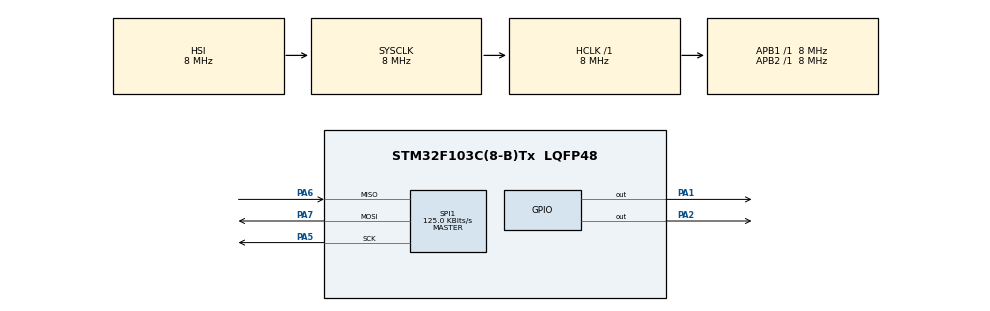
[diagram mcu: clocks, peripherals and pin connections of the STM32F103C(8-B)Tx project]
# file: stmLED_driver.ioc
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Mcu.Family=STM32F1
Mcu.Name=STM32F103C(8-B)Tx
Mcu.Package=LQFP48
NVIC.PriorityGroup=NVIC_PRIORITYGROUP_4
NVIC.SPI1_IRQn=true\:0\:0\:false\:false\:true\:true\:true
PA1.GPIO_PuPd=GPIO_PULLUP
PA1.PinState=GPIO_PIN_SET
PA1.Signal=GPIO_Output
PA13.Mode=Serial_Wire
PA13.Signal=SYS_JTMS-SWDIO
PA14.Mode=Serial_Wire
PA14.Signal=SYS_JTCK-SWCLK
PA2.GPIO_PuPd=GPIO_PULLUP
PA2.PinState=GPIO_PIN_SET
PA2.Signal=GPIO_Output
PA5.Mode=Full_Duplex_Master
PA5.Signal=SPI1_SCK
PA6.Mode=Full_Duplex_Master
PA6.Signal=SPI1_MISO
PA7.Mode=Full_Duplex_Master
PA7.Signal=SPI1_MOSI
PC14-OSC32_IN.Mode=LSE-External-Oscillator
PC14-OSC32_IN.Signal=RCC_OSC32_IN
PC15-OSC32_OUT.Mode=LSE-External-Oscillator
PC15-OSC32_OUT.Signal=RCC_OSC32_OUT
PD0-OSC_IN.Mode=HSE-External-Oscillator
PD0-OSC_IN.Signal=RCC_OSC_IN
PD1-OSC_OUT.Mode=HSE-External-Oscillator
PD1-OSC_OUT.Signal=RCC_OSC_OUT
ProjectManager.HeapSize=0x200
ProjectManager.StackSize=0x400
ProjectManager.TargetToolchain=MDK-ARM V5.27
RCC.AHBFreq_Value=8000000
RCC.APB1Freq_Value=8000000
RCC.APB1TimFreq_Value=8000000
RCC.APB2Freq_Value=8000000
RCC.APB2TimFreq_Value=8000000
RCC.HCLKFreq_Value=8000000
RCC.SYSCLKFreq_VALUE=8000000
RCC.USBFreq_Value=8000000
SPI1.BaudRatePrescaler=SPI_BAUDRATEPRESCALER_64
SPI1.CLKPhase=SPI_PHASE_2EDGE
SPI1.CLKPolarity=SPI_POLARITY_LOW
SPI1.CalculateBaudRate=125.0 KBits/s
SPI1.Direction=SPI_DIRECTION_2LINES
SPI1.Mode=SPI_MODE_MASTER
SPI1.VirtualType=VM_MASTER
board=custom

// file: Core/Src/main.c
/* USER CODE BEGIN Header */
/**
  ******************************************************************************
  * @file           : main.c
  * @brief          : Main program body
  ******************************************************************************
  * @attention
  *
  * <h2><center>&copy; Copyright (c) 2021 STMicroelectronics.
  * All rights reserved.</center></h2>
  *
  * This software component is licensed by ST under BSD 3-Clause license,
  * the "License"; You may not use this file except in compliance with the
  * License. You may obtain a copy of the License at:
  *                        opensource.org/licenses/BSD-3-Clause
  *
  ******************************************************************************
  */
/* USER CODE END Header */
#include "main.h"

SPI_HandleTypeDef hspi1;

/* USER CODE BEGIN PV */

//uint8_t Tx_SPI_Add;
uint8_t Tx_SPI_buf[4];
uint32_t Rx_SPI_buf;
uint32_t Read_data1 , Read_data2, Read_data3;

/* USER CODE END PV */

void SystemClock_Config(void);
static void MX_GPIO_Init(void);
static void MX_SPI1_Init(void);

/* USER CODE BEGIN 0 */

//void SPI_write1 ( uint8_t address1, uint32_t Data1)
//{
//	address1 |= 0x00;
//	Tx_SPI_buf[0] = Data1;
//	Tx_SPI_buf[1] = Data1 << 8;
//	Tx_SPI_buf[2] = Data1 << 16;
//	Tx_SPI_buf[3] = Data1 << 24;
//	HAL_GPIO_WritePin( GPIOA, GPIO_PIN_1, GPIO_PIN_RESET);
//	HAL_SPI_Transmit(&hspi1, &address1, 4	, 100);
//	HAL_SPI_Transmit(&hspi1, &Tx_SPI_buf[0], 4	, 100);
//	HAL_SPI_Transmit(&hspi1, &Tx_SPI_buf[1], 4	, 100);
//	HAL_SPI_Transmit(&hspi1, &Tx_SPI_buf[2], 4	, 100);
//	HAL_SPI_Transmit(&hspi1, &Tx_SPI_buf[3], 4	, 100);
//	HAL_GPIO_WritePin(GPIOA, GPIO_PIN_1, GPIO_PIN_SET);
//}

void SPI_write (uint8_t address, uint32_t Data)
{
	address |= 0x00;
	Tx_SPI_buf[0] = address;
	Tx_SPI_buf[1] = Data << 8 & 0x00FF0000;
	Tx_SPI_buf[2] = Data << 16 & 0x0000FF00;
	Tx_SPI_buf[3] = Data << 24 & 0x000000FF;
//  uint32_t Tx_SPI_buf1 = Data;
	HAL_GPIO_WritePin( GPIOA, GPIO_PIN_1, GPIO_PIN_RESET);
//	HAL_GPIO_WritePin( GPIOA, GPIO_PIN_2, GPIO_PIN_RESET);
	// HAL_SPI_Transmit(&hspi1, &address, 1	, 100);
	HAL_SPI_Transmit(&hspi1, (uint8_t*)Tx_SPI_buf, 4	, 100);
//	HAL_SPI_Transmit(&hspi1, &Tx_SPI_buf[0], 2	, 100);
//	HAL_SPI_Transmit(&hspi1, &Tx_SPI_buf[1], 2	, 100);
//	HAL_SPI_Transmit(&hspi1, &Tx_SPI_buf[2], 2	, 100);
//	HAL_SPI_Transmit(&hspi1, &Tx_SPI_buf[3], 2	, 100);
	HAL_GPIO_WritePin(GPIOA, GPIO_PIN_1, GPIO_PIN_SET);
//	HAL_GPIO_WritePin(GPIOA, GPIO_PIN_2, GPIO_PIN_SET);
}

uint32_t SPI_Read(uint8_t address2)
{
  address2 |= 0x40;
	HAL_GPIO_WritePin( GPIOA, GPIO_PIN_1, GPIO_PIN_RESET);
	HAL_SPI_Transmit(&hspi1, &address2, 4, 100);
	HAL_SPI_Receive(&hspi1, (uint8_t*)Rx_SPI_buf, 5, 100);
	HAL_GPIO_WritePin( GPIOA, GPIO_PIN_1, GPIO_PIN_SET);
	return Rx_SPI_buf;
}

void Driver_Init()
{
	SPI_write(0x01, 0x0000000E);
	SPI_write(0x02, 0x00000004);
}
/* USER CODE END 0 */

int main(void)
{

  /* MCU Configuration--------------------------------------------------------*/

  /* Reset of all peripherals, Initializes the Flash interface and the Systick. */
  HAL_Init();

  /* Configure the system clock */
  SystemClock_Config();

  /* Initialize all configured peripherals */
  MX_GPIO_Init();
  MX_SPI1_Init();

  /* Infinite loop */
  while (1)
  {

    /* USER CODE BEGIN 3 */
//		HAL_GPIO_WritePin( GPIOA, GPIO_PIN_1, GPIO_PIN_RESET);
		Driver_Init();
		//HAL_GPIO_WritePin(GPIOA, GPIO_PIN_1, GPIO_PIN_RESET);
		SPI_write(0x01, 0x00FFFFFE);
		SPI_write(0x02, 0x00FFF006);
		SPI_write(0x03, 0x0000AD80);
		Read_data1 = SPI_Read(0x05);
		Read_data2 = SPI_Read(0x01);
		Read_data3 = SPI_Read(0x02);
		//		HAL_GPIO_WritePin(GPIOA, GPIO_PIN_1, GPIO_PIN_SET);
  }
  /* USER CODE END 3 */
}

void SystemClock_Config(void)
{
  RCC_OscInitTypeDef RCC_OscInitStruct = {0};
  RCC_ClkInitTypeDef RCC_ClkInitStruct = {0};

  /** Initializes the RCC Oscillators according to the specified parameters
  * in the RCC_OscInitTypeDef structure.
  */
  RCC_OscInitStruct.OscillatorType = RCC_OSCILLATORTYPE_HSI;
  RCC_OscInitStruct.HSIState = RCC_HSI_ON;
  RCC_OscInitStruct.HSICalibrationValue = RCC_HSICALIBRATION_DEFAULT;
  RCC_OscInitStruct.PLL.PLLState = RCC_PLL_NONE;
  if (HAL_RCC_OscConfig(&RCC_OscInitStruct) != HAL_OK)
  {
    Error_Handler();
  }
  /** Initializes the CPU, AHB and APB buses clocks
  */
  RCC_ClkInitStruct.ClockType = RCC_CLOCKTYPE_HCLK|RCC_CLOCKTYPE_SYSCLK
                              |RCC_CLOCKTYPE_PCLK1|RCC_CLOCKTYPE_PCLK2;
  RCC_ClkInitStruct.SYSCLKSource = RCC_SYSCLKSOURCE_HSI;
  RCC_ClkInitStruct.AHBCLKDivider = RCC_SYSCLK_DIV1;
  RCC_ClkInitStruct.APB1CLKDivider = RCC_HCLK_DIV1;
  RCC_ClkInitStruct.APB2CLKDivider = RCC_HCLK_DIV1;

  if (HAL_RCC_ClockConfig(&RCC_ClkInitStruct, FLASH_LATENCY_0) != HAL_OK)
  {
    Error_Handler();
  }
}

static void MX_SPI1_Init(void)
{

  /* SPI1 parameter configuration*/
  hspi1.Instance = SPI1;
  hspi1.Init.Mode = SPI_MODE_MASTER;
  hspi1.Init.Direction = SPI_DIRECTION_2LINES;
  hspi1.Init.DataSize = SPI_DATASIZE_8BIT;
  hspi1.Init.CLKPolarity = SPI_POLARITY_LOW;
  hspi1.Init.CLKPhase = SPI_PHASE_2EDGE;
  hspi1.Init.NSS = SPI_NSS_SOFT;
  hspi1.Init.BaudRatePrescaler = SPI_BAUDRATEPRESCALER_64;
  hspi1.Init.FirstBit = SPI_FIRSTBIT_MSB;
  hspi1.Init.TIMode = SPI_TIMODE_DISABLE;
  hspi1.Init.CRCCalculation = SPI_CRCCALCULATION_DISABLE;
  hspi1.Init.CRCPolynomial = 10;
  if (HAL_SPI_Init(&hspi1) != HAL_OK)
  {
    Error_Handler();
  }

}

static void MX_GPIO_Init(void)
{
  GPIO_InitTypeDef GPIO_InitStruct = {0};

  /* GPIO Ports Clock Enable */
  __HAL_RCC_GPIOC_CLK_ENABLE();
  __HAL_RCC_GPIOD_CLK_ENABLE();
  __HAL_RCC_GPIOA_CLK_ENABLE();

  /*Configure GPIO pin Output Level */
  HAL_GPIO_WritePin(GPIOA, GPIO_PIN_1|GPIO_PIN_2, GPIO_PIN_SET);

  /*Configure GPIO pins : PA1 PA2 */
  GPIO_InitStruct.Pin = GPIO_PIN_1|GPIO_PIN_2;
  GPIO_InitStruct.Mode = GPIO_MODE_OUTPUT_PP;
  GPIO_InitStruct.Pull = GPIO_PULLUP;
  GPIO_InitStruct.Speed = GPIO_SPEED_FREQ_LOW;
  HAL_GPIO_Init(GPIOA, &GPIO_InitStruct);

}

void Error_Handler(void)
{
}

/************************ (C) COPYRIGHT STMicroelectronics *****END OF FILE****/
